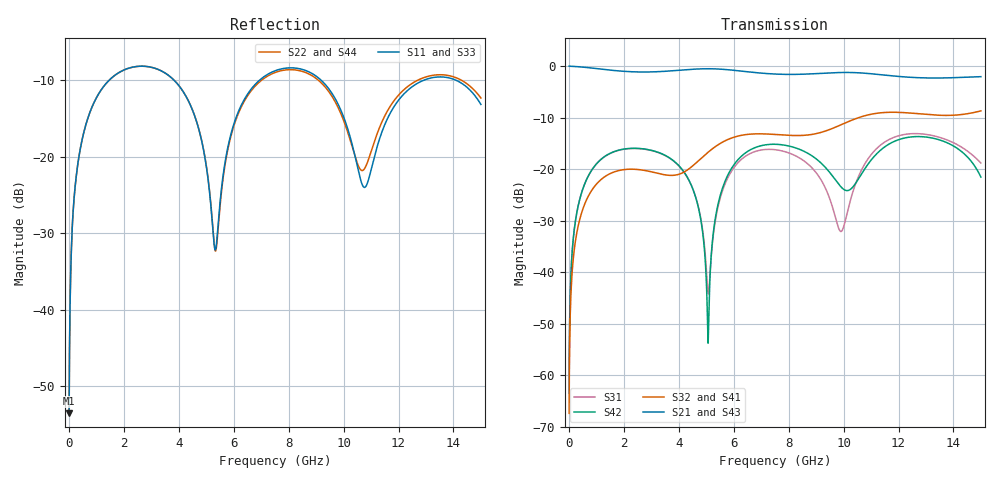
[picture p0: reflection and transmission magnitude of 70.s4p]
! Created with skrf 1.8.0 (http://scikit-rf.org).
# GHz S RI R 50.0
!freq ReS11 ImS11 ReS12 ImS12 ReS13 ImS13
! ReS14 ImS14
! ReS21 ImS21 ReS22 ImS22 ReS23 ImS23
! ReS24 ImS24
! ReS31 ImS31 ReS32 ImS32 ReS33 ImS33
! ReS34 ImS34
! ReS41 ImS41 ReS42 ImS42 ReS43 ImS43
! ReS44 ImS44
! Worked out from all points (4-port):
!   2499 points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, 5 MHz to 15 GHz, reference 50 ohm
!   strongest paths, dB at 5 MHz, 3.476 GHz, 7.19 GHz, 11.1 GHz, 15 GHz:
!     S21: 0.0, -1.0, -1.4, -1.5, -2.1
!     S43: 0.0, -1.0, -1.4, -1.5, -2.1
!     S32: -67.4, -21.1, -13.2, -9.2, -8.7
!     S41: -67.4, -21.1, -13.2, -9.2, -8.7
!     S42: -63.4, -17.3, -15.3, -17.6, -21.5
!     S31: -63.4, -17.3, -16.2, -16.6, -18.8
!   lowest |S11| = -53.5 dB at 5 MHz (marker M1), VSWR 1.00, Z = 50.2 + j0.128 ohm
!   |S11| at or under -10 dB: start of sweep to 1.454 GHz; 3.836 GHz to 6.929 GHz (3.092 GHz wide, 57.5 % of centre); 9.192 GHz to 12.9 GHz (3.705 GHz wide, 33.5 % of centre) (the widest 3 of 4)
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0.005  0.00168 0.00128  0.9983 -0.00327  8.46e-05 0.000669  -8.21e-05 -0.000419
       0.9983 -0.00327  0.00168 0.00128  -8.21e-05 -0.000419  8.46e-05 0.000669
       8.46e-05 0.000669  -8.21e-05 -0.000419  0.00168 0.00128  0.9983 -0.00327
       -8.21e-05 -0.000419  8.46e-05 0.000669  0.9983 -0.00327  0.00168 0.00128
0.3126303  0.0251 0.0838  0.9658 -0.2033  0.0115 0.0396  -0.00962 -0.0245
           0.9658 -0.2033  0.025 0.0838  -0.00962 -0.0245  0.0116 0.0396
           0.0115 0.0396  -0.00962 -0.0245  0.0251 0.0838  0.9658 -0.2033
           -0.00962 -0.0245  0.0116 0.0396  0.9658 -0.2033  0.025 0.0838
1.569404  0.2814 0.1736  0.5249 -0.7434  0.1322 0.0593  -0.0923 -0.002
          0.5249 -0.7434  0.2809 0.1739  -0.0923 -0.00203  0.1333 0.0578
          0.1322 0.0593  -0.0923 -0.00203  0.2814 0.1735  0.5249 -0.7434
          -0.0923 -0.002  0.1333 0.0578  0.5249 -0.7434  0.2809 0.174
5.06461  0.0341 -0.063  -0.915 -0.226  -0.00614 -0.00136  -0.0301 0.1426
         -0.915 -0.226  0.0344 -0.0641  -0.0308 0.1425  0.00203 -0.000237
         -0.00614 -0.00136  -0.0308 0.1425  0.0331 -0.0633  -0.915 -0.2258
         -0.0301 0.1426  0.00203 -0.000237  -0.915 -0.2258  0.0354 -0.064
8.265944  0.3791 -0.0361  -0.00141 0.8311  0.1163 -0.0668  0.2042 -0.0556
          -0.00141 0.8311  0.3695 -0.021  0.2046 -0.0546  0.1181 -0.1084
          0.1163 -0.0668  0.2046 -0.0546  0.3804 -0.0327  -0.00111 0.8306
          0.2042 -0.0556  0.1181 -0.1084  -0.00111 0.8306  0.3704 -0.0248
11.0296  0.0758 0.0413  0.8407 -0.0366  0.0575 0.1288  -0.0339 -0.3416
         0.8407 -0.0366  0.0981 0.0549  -0.0322 -0.3406  0.0228 0.1228
         0.0575 0.1288  -0.0322 -0.3406  0.0826 0.0392  0.8409 -0.0367
         -0.0339 -0.3416  0.0228 0.1228  0.8409 -0.0367  0.0913 0.0529
15  0.1765 -0.1321  -0.4843 -0.6235  -0.0342 -0.1095  -0.2739 0.2455
    -0.4843 -0.6235  0.201 -0.1364  -0.277 0.2415  0.00101 -0.0837
    -0.0342 -0.1095  -0.277 0.2415  0.1764 -0.1339  -0.4855 -0.6224
    -0.2739 0.2455  0.00101 -0.0837  -0.4855 -0.6224  0.2007 -0.1359
